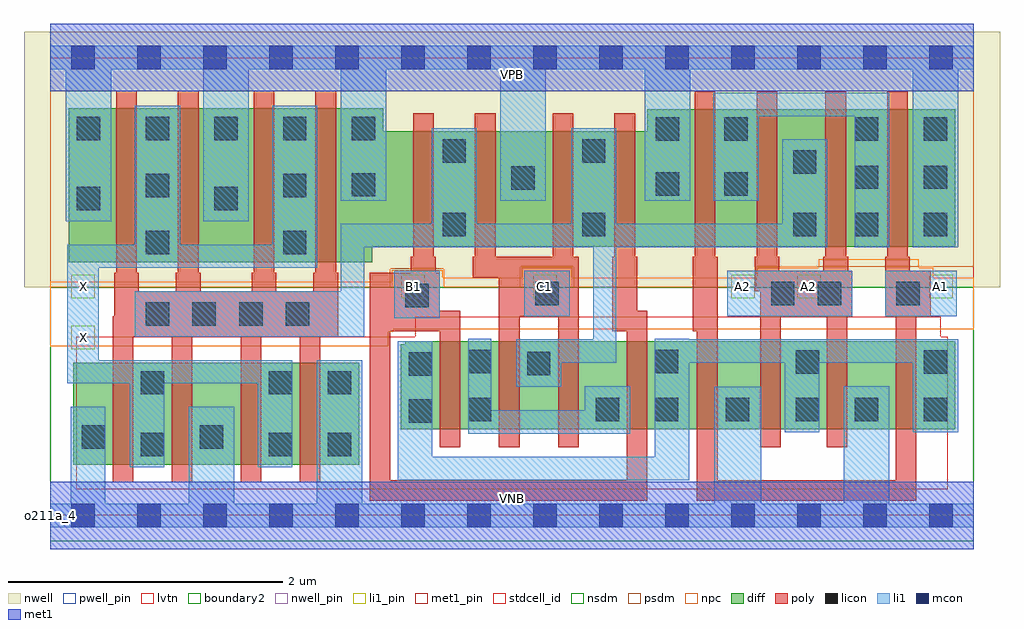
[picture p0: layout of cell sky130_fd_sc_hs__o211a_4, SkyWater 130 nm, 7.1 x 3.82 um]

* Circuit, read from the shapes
.subckt sky130_fd_sc_hs__o211a_4 A1 A2 B1 C1 VGND VNB VPB VPWR X
XM1 X n1 VGND VNB sky130_fd_pr__nfet_01v8_lvt w=0.74 l=0.15 m=4
XM2 n2 B1 n3 VNB sky130_fd_pr__nfet_01v8_lvt w=0.64 l=0.15 m=2
XM3 n1 C1 n2 VNB sky130_fd_pr__nfet_01v8_lvt w=0.64 l=0.15 m=2
XM4 VGND A1 n3 VNB sky130_fd_pr__nfet_01v8_lvt w=0.64 l=0.15 m=2
XM5 n3 A2 VGND VNB sky130_fd_pr__nfet_01v8_lvt w=0.64 l=0.15 m=2
XM6 X n1 VPWR VPB sky130_fd_pr__pfet_01v8 w=1.12 l=0.15 m=4
XM7 n1 B1 VPWR VPB sky130_fd_pr__pfet_01v8 w=0.84 l=0.15 m=2
XM8 VPWR C1 n1 VPB sky130_fd_pr__pfet_01v8 w=0.84 l=0.15 m=2
XM9 n4 A1 VPWR VPB sky130_fd_pr__pfet_01v8 w=1 l=0.15 m=2
XM10 n1 A2 n4 VPB sky130_fd_pr__pfet_01v8 w=1 l=0.15 m=2
.ends

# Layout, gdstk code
import gdstk
lib = gdstk.Library(unit=1e-6, precision=1e-09)
def R(c, l, rs):  # rectangles x0, y0, x1, y1
    for r in rs: c.add(gdstk.rectangle(r[:2], r[2:], *l))
def A(c, l, x, y, w, h, nx, ny, dx, dy):  # array of equal rectangles
    R(c, l, [(x+i*dx, y+j*dy, x+i*dx+w, y+j*dy+h) for i in range(nx) for j in range(ny)])
def P(c, l, *ps):  # polygons
    for p in ps: c.add(gdstk.Polygon(p, *l))
nwell_pin = (64, 16)
nwell = (64, 20)
diff = (65, 20)
poly = (66, 20)
licon = (66, 44)
li1_pin = (67, 16)
li1 = (67, 20)
mcon = (67, 44)
met1_pin = (68, 16)
met1 = (68, 20)
stdcell_id = (81, 4)
nsdm = (93, 44)
psdm = (94, 20)
npc = (95, 20)
pwell_pin = (122, 16)
lvtn = (125, 44)
boundary2 = (236, 0)

sky130_fd_sc_hs__o211a_4 = lib.new_cell('sky130_fd_sc_hs__o211a_4')
R(sky130_fd_sc_hs__o211a_4, nwell_pin, [(0,3.085,6.72,3.33)])
R(sky130_fd_sc_hs__o211a_4, nwell, [(-0.19,1.66,6.91,3.52)])
R(sky130_fd_sc_hs__o211a_4, diff, [(0.17,0.37,2.25,1.11)])
P(sky130_fd_sc_hs__o211a_4, diff, [(6.585,2.955),(4.345,2.955),(4.345,2.795),(2.425,2.795),(2.425,2.96),(0.135,2.96),(0.135,1.84),(2.345,1.84),(2.345,1.955),(6.585,1.955)],
  [(6.585,1.265),(2.585,1.265),(2.585,1.245),(2.55,1.245),(2.55,0.625),(6.585,0.625)])
P(sky130_fd_sc_hs__o211a_4, poly, [(2.095,1.765),(2.08,1.765),(2.08,3.09),(1.93,3.09),(1.93,1.765),(1.915,1.765),(1.915,1.63),(1.645,1.63),(1.645,1.765),(1.63,1.765),(1.63,3.09),(1.48,3.09),(1.48,1.765),(1.465,1.765),(1.465,1.63),(1.095,1.63),(1.095,1.765),(1.08,1.765),(1.08,3.09),(0.93,3.09),(0.93,1.765),(0.915,1.765),(0.915,1.63),(0.645,1.63),(0.645,1.765),(0.63,1.765),(0.63,3.09),(0.48,3.09),(0.48,1.765),(0.465,1.765),(0.465,1.45),(0.455,1.45),(0.455,0.24),(0.605,0.24),(0.605,1.3),(0.885,1.3),(0.885,0.24),(1.035,0.24),(1.035,1.3),(1.385,1.3),(1.385,0.24),(1.535,0.24),(1.535,1.3),(1.815,1.3),(1.815,0.24),(1.965,0.24),(1.965,1.3),(2.095,1.3)],
  [(3.845,1.88),(3.805,1.88),(3.805,2.925),(3.655,2.925),(3.655,1.88),(3.24,1.88),(3.24,2.925),(3.09,2.925),(3.09,1.88),(3.075,1.88),(3.075,1.73),(3.265,1.73),(3.265,0.495),(3.415,0.495),(3.415,1.45),(3.695,1.45),(3.695,0.495),(3.845,0.495)],
  [(4.345,1.49),(4.27,1.49),(4.27,1.88),(4.255,1.88),(4.255,2.925),(4.105,2.925),(4.105,1.88),(4.09,1.88),(4.09,1.34),(4.195,1.34),(4.195,0.255),(2.475,0.255),(2.475,1.34),(2.835,1.34),(2.835,0.495),(2.985,0.495),(2.985,1.49),(2.835,1.49),(2.835,1.765),(2.805,1.765),(2.805,1.88),(2.79,1.88),(2.79,2.925),(2.64,2.925),(2.64,1.88),(2.625,1.88),(2.625,1.765),(2.325,1.765),(2.325,0.105),(4.345,0.105)],
  [(5.835,1.78),(5.805,1.78),(5.805,1.88),(5.79,1.88),(5.79,3.085),(5.64,3.085),(5.64,1.88),(5.625,1.88),(5.625,1.78),(5.305,1.78),(5.305,1.88),(5.29,1.88),(5.29,3.085),(5.14,3.085),(5.14,1.88),(5.125,1.88),(5.125,1.63),(5.165,1.63),(5.165,0.495),(5.315,0.495),(5.315,1.45),(5.65,1.45),(5.65,0.495),(5.8,0.495),(5.8,1.45),(5.835,1.45)],
  [(6.405,1.78),(6.255,1.78),(6.255,1.88),(6.24,1.88),(6.24,3.085),(6.09,3.085),(6.09,1.88),(6.075,1.88),(6.075,1.45),(6.15,1.45),(6.15,0.255),(4.855,0.255),(4.855,1.88),(4.84,1.88),(4.84,3.085),(4.69,3.085),(4.69,1.88),(4.675,1.88),(4.675,1.34),(4.705,1.34),(4.705,0.105),(6.3,0.105),(6.3,1.45),(6.405,1.45)])
A(sky130_fd_sc_hs__o211a_4, licon, 0.695, 1.38, 0.17, 0.17, 4, 1, 0.34, 0)
A(sky130_fd_sc_hs__o211a_4, licon, 0.195, 2.73, 0.17, 0.17, 5, 1, 0.5, 0)
R(sky130_fd_sc_hs__o211a_4, licon, [(0.66,0.43,0.83,0.6), (1.59,0.43,1.76,0.6), (2.02,0.43,2.19,0.6), (0.23,0.485,0.4,0.655), (1.09,0.485,1.26,0.655), (2.61,0.675,2.78,0.845), (3.04,0.685,3.21,0.855), (3.97,0.685,4.14,0.855), (4.4,0.685,4.57,0.855), (4.915,0.685,5.085,0.855), (5.425,0.685,5.595,0.855), (5.855,0.685,6.025,0.855), (6.355,0.685,6.525,0.855), (0.66,0.88,0.83,1.05), (1.59,0.88,1.76,1.05), (2.02,0.88,2.19,1.05), (2.61,1.015,2.78,1.185), (3.47,1.02,3.64,1.19), (5.425,1.03,5.595,1.2), (6.355,1.03,6.525,1.2), (3.04,1.035,3.21,1.205), (4.4,1.035,4.57,1.205), (2.585,1.515,2.755,1.685), (3.53,1.53,3.7,1.7), (5.245,1.53,5.415,1.7), (5.585,1.53,5.755,1.7), (6.155,1.53,6.325,1.7), (0.695,1.9,0.865,2.07), (1.695,1.9,1.865,2.07), (2.855,2.03,3.025,2.2), (3.87,2.03,4.04,2.2), (5.405,2.03,5.575,2.2), (5.855,2.03,6.025,2.2), (6.355,2.03,6.525,2.2), (0.195,2.22,0.365,2.39), (1.195,2.22,1.365,2.39), (0.695,2.315,0.865,2.485), (1.695,2.315,1.865,2.485), (2.195,2.32,2.365,2.49), (4.405,2.325,4.575,2.495), (4.905,2.325,5.075,2.495), (3.355,2.37,3.525,2.54), (5.855,2.375,6.025,2.545), (6.355,2.375,6.525,2.545), (5.405,2.485,5.575,2.655), (2.855,2.565,3.025,2.735), (3.87,2.565,4.04,2.735), (4.405,2.725,4.575,2.895), (4.905,2.725,5.075,2.895), (5.855,2.725,6.025,2.895), (6.355,2.725,6.525,2.895)])
R(sky130_fd_sc_hs__o211a_4, li1_pin, [(0.155,1.21,0.325,1.38), (0.155,1.58,0.325,1.75), (2.555,1.58,2.725,1.75), (3.515,1.58,3.685,1.75), (4.955,1.58,5.125,1.75), (5.435,1.58,5.605,1.75), (6.395,1.58,6.565,1.75)])
R(sky130_fd_sc_hs__o211a_4, li1, [(2.505,1.435,2.835,1.78), (3.45,1.45,3.78,1.78), (4.925,1.45,5.835,1.78), (6.075,1.45,6.595,1.78)])
P(sky130_fd_sc_hs__o211a_4, li1, [(0,-0.085),(0,0.085),(0.15,0.085),(0.15,0.79),(0.4,0.79),(0.4,0.085),(1.01,0.085),(1.01,0.79),(1.34,0.79),(1.34,0.085),(1.94,0.085),(1.94,1.13),(2.27,1.13),(2.27,0.085),(4.83,0.085),(4.83,0.935),(5.175,0.935),(5.175,0.085),(5.775,0.085),(5.775,0.94),(6.105,0.94),(6.105,0.085),(6.72,0.085),(6.72,-0.085)],
  [(0,3.245),(0,3.415),(6.72,3.415),(6.72,3.245),(6.605,3.245),(6.605,1.95),(6.275,1.95),(6.275,3.245),(4.655,3.245),(4.655,2.29),(4.325,2.29),(4.325,3.245),(3.605,3.245),(3.605,2.29),(3.275,2.29),(3.275,3.245),(2.445,3.245),(2.445,2.29),(2.115,2.29),(2.115,3.245),(1.445,3.245),(1.445,2.14),(1.115,2.14),(1.115,3.245),(0.445,3.245),(0.445,2.14),(0.115,2.14),(0.115,3.245)],
  [(6.105,3.075),(6.105,1.95),(5.855,1.95),(5.855,2.905),(5.155,2.905),(5.155,2.29),(4.825,2.29),(4.825,3.075)],
  [(3.105,2.12),(3.79,2.12),(3.79,2.815),(4.12,2.815),(4.12,2.12),(5.325,2.12),(5.325,2.735),(5.655,2.735),(5.655,1.95),(4.12,1.95),(4.12,1.11),(3.72,1.11),(3.72,0.935),(3.39,0.935),(3.39,1.28),(3.95,1.28),(3.95,1.95),(2.285,1.95),(2.285,1.3),(0.615,1.3),(0.615,1.63),(2.115,1.63),(2.115,2.12),(2.775,2.12),(2.775,2.815),(3.105,2.815)],
  [(0.355,1.8),(0.355,1.13),(1.76,1.13),(1.76,0.35),(1.51,0.35),(1.51,0.96),(0.83,0.96),(0.83,0.35),(0.58,0.35),(0.58,0.96),(0.125,0.96),(0.125,1.97),(0.615,1.97),(0.615,2.98),(0.945,2.98),(0.945,1.97),(1.615,1.97),(1.615,2.98),(1.945,2.98),(1.945,1.8)],
  [(6.275,1.11),(5.595,1.11),(5.595,0.605),(5.345,0.605),(5.345,1.11),(4.65,1.11),(4.65,0.255),(2.53,0.255),(2.53,1.265),(2.78,1.265),(2.78,0.425),(4.4,0.425),(4.4,1.285),(4.65,1.285),(4.65,1.28),(6.605,1.28),(6.605,0.605),(6.275,0.605)],
  [(3.89,0.765),(3.89,0.94),(4.22,0.94),(4.22,0.595),(3.04,0.595),(3.04,1.285),(3.21,1.285),(3.21,0.765)])
A(sky130_fd_sc_hs__o211a_4, mcon, 0.155, -0.085, 0.17, 0.17, 14, 2, 0.48, 3.33)
R(sky130_fd_sc_hs__o211a_4, met1_pin, [(0,0,6.72,0.245), (0,3.085,6.72,3.33)])
R(sky130_fd_sc_hs__o211a_4, met1, [(0,-0.245,6.72,0.245), (0,3.085,6.72,3.575)])
R(sky130_fd_sc_hs__o211a_4, stdcell_id, [(0,0,6.72,3.33)])
R(sky130_fd_sc_hs__o211a_4, nsdm, [(0,-0.19,6.72,1.66)])
P(sky130_fd_sc_hs__o211a_4, psdm, [(6.72,3.52),(0,3.52),(0,1.66),(2.475,1.66),(2.475,1.795),(2.865,1.795),(2.865,1.66),(3.42,1.66),(3.42,1.81),(3.81,1.81),(3.81,1.66),(5.135,1.66),(5.135,1.81),(6.72,1.81)])
P(sky130_fd_sc_hs__o211a_4, npc, [(6.72,1.73),(6.425,1.73),(6.425,1.8),(6.32,1.8),(6.32,1.865),(5.59,1.865),(5.59,1.8),(5.145,1.8),(5.145,1.73),(3.8,1.73),(3.8,1.8),(3.43,1.8),(3.43,1.73),(2.855,1.73),(2.855,1.785),(2.485,1.785),(2.485,1.7),(0,1.7),(0,1.23),(2.46,1.23),(2.46,1.335),(2.495,1.335),(2.495,1.355),(6.72,1.355)])
R(sky130_fd_sc_hs__o211a_4, pwell_pin, [(0,0,6.72,0.245)])
P(sky130_fd_sc_hs__o211a_4, lvtn, [(6.53,1.3),(6.48,1.3),(6.48,1.445),(2.655,1.445),(2.655,1.3),(0.19,1.3),(0.19,0.19),(6.53,0.19)])
R(sky130_fd_sc_hs__o211a_4, boundary2, [(0,0,6.72,3.33)])
sky130_fd_sc_hs__o211a_4.add(gdstk.Label('o211a_4', (0,0), layer=83, texttype=44))
sky130_fd_sc_hs__o211a_4.add(gdstk.Label('VNB', (3.36,0.123), layer=64, texttype=59))
sky130_fd_sc_hs__o211a_4.add(gdstk.Label('VPB', (3.36,3.208), layer=64, texttype=5))
sky130_fd_sc_hs__o211a_4.add(gdstk.Label('VPWR', (3.36,3.208), layer=68, texttype=5))
sky130_fd_sc_hs__o211a_4.add(gdstk.Label('VGND', (3.36,0.123), layer=68, texttype=5))
sky130_fd_sc_hs__o211a_4.add(gdstk.Label('A1', (6.48,1.665), layer=67, texttype=5))
sky130_fd_sc_hs__o211a_4.add(gdstk.Label('A2', (5.04,1.665), layer=67, texttype=5))
sky130_fd_sc_hs__o211a_4.add(gdstk.Label('A2', (5.52,1.665), layer=67, texttype=5))
sky130_fd_sc_hs__o211a_4.add(gdstk.Label('B1', (2.64,1.665), layer=67, texttype=5))
sky130_fd_sc_hs__o211a_4.add(gdstk.Label('C1', (3.6,1.665), layer=67, texttype=5))
sky130_fd_sc_hs__o211a_4.add(gdstk.Label('X', (0.24,1.295), layer=67, texttype=5))
sky130_fd_sc_hs__o211a_4.add(gdstk.Label('X', (0.24,1.665), layer=67, texttype=5))

lib.write_gds('sky130_fd_sc_hs__o211a_4.gds')
